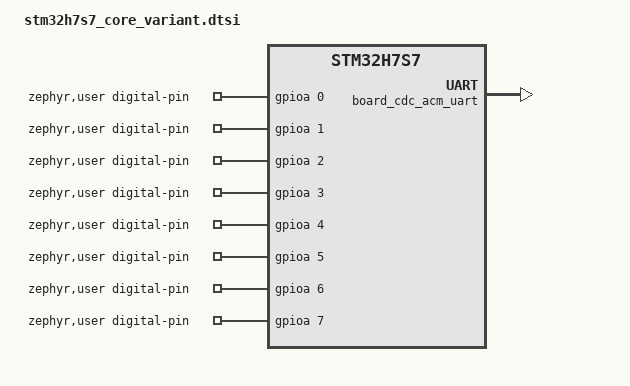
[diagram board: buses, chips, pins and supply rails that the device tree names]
/*
 * SPDX-License-Identifier: Apache-2.0
 *
 * Arduino mapping shared by every STM32H7S7 variant: USB CDC ACM as Serial, the loader and sketch partitions inside
 * the program slot, and every GPIO as an Arduino pin numbered port index x 16 + pin (A=0..H=7, M=8, N=9, O=10, P=11).
 */

&zephyr_udc0 {
	board_cdc_acm_uart: board_cdc_acm_uart {
		compatible = "zephyr,cdc-acm-uart";
		status = "okay";
	};
};

&ext_flash {
	partitions {
		loader_partition: loader-partition@0 {
			compatible = "zephyr,mapped-partition";
			label = "loader";
			reg = <0x00000000 0x00080000>;
		};

		user_sketch: partition@80000 {
			compatible = "zephyr,mapped-partition";
			label = "user_sketch";
			reg = <0x00080000 0x00780000>;
		};
	};
};

/ {
	chosen {
		zephyr,code-partition = &loader_partition;
	};

	zephyr,user {
		cdc-acm-serial = <&board_cdc_acm_uart>;
		digital-pin-gpios =
				<&gpioa 0 0>,	/*   0 PA0 */
				<&gpioa 1 0>,	/*   1 PA1 */
				<&gpioa 2 0>,	/*   2 PA2 */
				<&gpioa 3 0>,	/*   3 PA3 */
				<&gpioa 4 0>,	/*   4 PA4 */
				<&gpioa 5 0>,	/*   5 PA5 */
				<&gpioa 6 0>,	/*   6 PA6 */
				<&gpioa 7 0>,	/*   7 PA7 */
				<&gpioa 8 0>,	/*   8 PA8 */
				<&gpioa 9 0>,	/*   9 PA9 */
				<&gpioa 10 0>,	/*  10 PA10 */
				<&gpioa 11 0>,	/*  11 PA11 */
				<&gpioa 12 0>,	/*  12 PA12 */
				<&gpioa 13 0>,	/*  13 PA13 */
				<&gpioa 14 0>,	/*  14 PA14 */
				<&gpioa 15 0>,	/*  15 PA15 */
				<&gpiob 0 0>,	/*  16 PB0 */
				<&gpiob 1 0>,	/*  17 PB1 */
				<&gpiob 2 0>,	/*  18 PB2 */
				<&gpiob 3 0>,	/*  19 PB3 */
				<&gpiob 4 0>,	/*  20 PB4 */
				<&gpiob 5 0>,	/*  21 PB5 */
				<&gpiob 6 0>,	/*  22 PB6 */
				<&gpiob 7 0>,	/*  23 PB7 */
				<&gpiob 8 0>,	/*  24 PB8 */
				<&gpiob 9 0>,	/*  25 PB9 */
				<&gpiob 10 0>,	/*  26 PB10 */
				<&gpiob 11 0>,	/*  27 PB11 */
				<&gpiob 12 0>,	/*  28 PB12 */
				<&gpiob 13 0>,	/*  29 PB13 */
				<&gpiob 14 0>,	/*  30 PB14 */
				<&gpiob 15 0>,	/*  31 PB15 */
				<&gpioc 0 0>,	/*  32 PC0 */
				<&gpioc 1 0>,	/*  33 PC1 */
				<&gpioc 2 0>,	/*  34 PC2 */
				<&gpioc 3 0>,	/*  35 PC3 */
				<&gpioc 4 0>,	/*  36 PC4 */
				<&gpioc 5 0>,	/*  37 PC5 */
				<&gpioc 6 0>,	/*  38 PC6 */
				<&gpioc 7 0>,	/*  39 PC7 */
				<&gpioc 8 0>,	/*  40 PC8 */
				<&gpioc 9 0>,	/*  41 PC9 */
				<&gpioc 10 0>,	/*  42 PC10 */
				<&gpioc 11 0>,	/*  43 PC11 */
				<&gpioc 12 0>,	/*  44 PC12 */
				<&gpioc 13 0>,	/*  45 PC13 */
				<&gpioc 14 0>,	/*  46 PC14 */
				<&gpioc 15 0>,	/*  47 PC15 */
				<&gpiod 0 0>,	/*  48 PD0 */
				<&gpiod 1 0>,	/*  49 PD1 */
				<&gpiod 2 0>,	/*  50 PD2 */
				<&gpiod 3 0>,	/*  51 PD3 */
				<&gpiod 4 0>,	/*  52 PD4 */
				<&gpiod 5 0>,	/*  53 PD5 */
				<&gpiod 6 0>,	/*  54 PD6 */
				<&gpiod 7 0>,	/*  55 PD7 */
				<&gpiod 8 0>,	/*  56 PD8 */
				<&gpiod 9 0>,	/*  57 PD9 */
				<&gpiod 10 0>,	/*  58 PD10 */
				<&gpiod 11 0>,	/*  59 PD11 */
				<&gpiod 12 0>,	/*  60 PD12 */
				<&gpiod 13 0>,	/*  61 PD13 */
				<&gpiod 14 0>,	/*  62 PD14 */
				<&gpiod 15 0>,	/*  63 PD15 */
				<&gpioe 0 0>,	/*  64 PE0 */
				<&gpioe 1 0>,	/*  65 PE1 */
				<&gpioe 2 0>,	/*  66 PE2 */
				<&gpioe 3 0>,	/*  67 PE3 */
				<&gpioe 4 0>,	/*  68 PE4 */
				<&gpioe 5 0>,	/*  69 PE5 */
				<&gpioe 6 0>,	/*  70 PE6 */
				<&gpioe 7 0>,	/*  71 PE7 */
				<&gpioe 8 0>,	/*  72 PE8 */
				<&gpioe 9 0>,	/*  73 PE9 */
				<&gpioe 10 0>,	/*  74 PE10 */
				<&gpioe 11 0>,	/*  75 PE11 */
				<&gpioe 12 0>,	/*  76 PE12 */
				<&gpioe 13 0>,	/*  77 PE13 */
				<&gpioe 14 0>,	/*  78 PE14 */
				<&gpioe 15 0>,	/*  79 PE15 */
				<&gpiof 0 0>,	/*  80 PF0 */
				<&gpiof 1 0>,	/*  81 PF1 */
				<&gpiof 2 0>,	/*  82 PF2 */
				<&gpiof 3 0>,	/*  83 PF3 */
				<&gpiof 4 0>,	/*  84 PF4 */
				<&gpiof 5 0>,	/*  85 PF5 */
				<&gpiof 6 0>,	/*  86 PF6 */
				<&gpiof 7 0>,	/*  87 PF7 */
				<&gpiof 8 0>,	/*  88 PF8 */
				<&gpiof 9 0>,	/*  89 PF9 */
				<&gpiof 10 0>,	/*  90 PF10 */
				<&gpiof 11 0>,	/*  91 PF11 */
				<&gpiof 12 0>,	/*  92 PF12 */
				<&gpiof 13 0>,	/*  93 PF13 */
				<&gpiof 14 0>,	/*  94 PF14 */
				<&gpiof 15 0>,	/*  95 PF15 */
				<&gpiog 0 0>,	/*  96 PG0 */
				<&gpiog 1 0>,	/*  97 PG1 */
				<&gpiog 2 0>,	/*  98 PG2 */
				<&gpiog 3 0>,	/*  99 PG3 */
				<&gpiog 4 0>,	/* 100 PG4 */
				<&gpiog 5 0>,	/* 101 PG5 */
				<&gpiog 6 0>,	/* 102 PG6 */
				<&gpiog 7 0>,	/* 103 PG7 */
				<&gpiog 8 0>,	/* 104 PG8 */
				<&gpiog 9 0>,	/* 105 PG9 */
				<&gpiog 10 0>,	/* 106 PG10 */
				<&gpiog 11 0>,	/* 107 PG11 */
				<&gpiog 12 0>,	/* 108 PG12 */
				<&gpiog 13 0>,	/* 109 PG13 */
				<&gpiog 14 0>,	/* 110 PG14 */
				<&gpiog 15 0>,	/* 111 PG15 */
				<&gpioh 0 0>,	/* 112 PH0 */
				<&gpioh 1 0>,	/* 113 PH1 */
				<&gpioh 2 0>,	/* 114 PH2 */
				<&gpioh 3 0>,	/* 115 PH3 */
				<&gpioh 4 0>,	/* 116 PH4 */
				<&gpioh 5 0>,	/* 117 PH5 */
				<&gpioh 6 0>,	/* 118 PH6 */
				<&gpioh 7 0>,	/* 119 PH7 */
				<&gpioh 8 0>,	/* 120 PH8 */
				<&gpioh 9 0>,	/* 121 PH9 */
				<&gpioh 10 0>,	/* 122 PH10 */
				<&gpioh 11 0>,	/* 123 PH11 */
				<&gpioh 12 0>,	/* 124 PH12 */
				<&gpioh 13 0>,	/* 125 PH13 */
				<&gpioh 14 0>,	/* 126 PH14 */
				<&gpioh 15 0>,	/* 127 PH15 */
				<&gpiom 0 0>,	/* 128 PM0 */
				<&gpiom 1 0>,	/* 129 PM1 */
				<&gpiom 2 0>,	/* 130 PM2 */
				<&gpiom 3 0>,	/* 131 PM3 */
				<&gpiom 4 0>,	/* 132 PM4 */
				<&gpiom 5 0>,	/* 133 PM5 */
				<&gpiom 6 0>,	/* 134 PM6 */
				<&gpiom 7 0>,	/* 135 PM7 */
				<&gpiom 8 0>,	/* 136 PM8 */
				<&gpiom 9 0>,	/* 137 PM9 */
				<&gpiom 10 0>,	/* 138 PM10 */
				<&gpiom 11 0>,	/* 139 PM11 */
				<&gpiom 12 0>,	/* 140 PM12 */
				<&gpiom 13 0>,	/* 141 PM13 */
				<&gpiom 14 0>,	/* 142 PM14 */
				<&gpiom 15 0>,	/* 143 PM15 */
				<&gpion 0 0>,	/* 144 PN0 */
				<&gpion 1 0>,	/* 145 PN1 */
				<&gpion 2 0>,	/* 146 PN2 */
				<&gpion 3 0>,	/* 147 PN3 */
				<&gpion 4 0>,	/* 148 PN4 */
				<&gpion 5 0>,	/* 149 PN5 */
				<&gpion 6 0>,	/* 150 PN6 */
				<&gpion 7 0>,	/* 151 PN7 */
				<&gpion 8 0>,	/* 152 PN8 */
				<&gpion 9 0>,	/* 153 PN9 */
				<&gpion 10 0>,	/* 154 PN10 */
				<&gpion 11 0>,	/* 155 PN11 */
				<&gpion 12 0>,	/* 156 PN12 */
				<&gpion 13 0>,	/* 157 PN13 */
				<&gpion 14 0>,	/* 158 PN14 */
				<&gpion 15 0>,	/* 159 PN15 */
				<&gpioo 0 0>,	/* 160 PO0 */
				<&gpioo 1 0>,	/* 161 PO1 */
				<&gpioo 2 0>,	/* 162 PO2 */
				<&gpioo 3 0>,	/* 163 PO3 */
				<&gpioo 4 0>,	/* 164 PO4 */
				<&gpioo 5 0>,	/* 165 PO5 */
				<&gpioo 6 0>,	/* 166 PO6 */
				<&gpioo 7 0>,	/* 167 PO7 */
				<&gpioo 8 0>,	/* 168 PO8 */
				<&gpioo 9 0>,	/* 169 PO9 */
				<&gpioo 10 0>,	/* 170 PO10 */
				<&gpioo 11 0>,	/* 171 PO11 */
				<&gpioo 12 0>,	/* 172 PO12 */
				<&gpioo 13 0>,	/* 173 PO13 */
				<&gpioo 14 0>,	/* 174 PO14 */
				<&gpioo 15 0>,	/* 175 PO15 */
				<&gpiop 0 0>,	/* 176 PP0 */
				<&gpiop 1 0>,	/* 177 PP1 */
				<&gpiop 2 0>,	/* 178 PP2 */
				<&gpiop 3 0>,	/* 179 PP3 */
				<&gpiop 4 0>,	/* 180 PP4 */
				<&gpiop 5 0>,	/* 181 PP5 */
				<&gpiop 6 0>,	/* 182 PP6 */
				<&gpiop 7 0>,	/* 183 PP7 */
				<&gpiop 8 0>,	/* 184 PP8 */
				<&gpiop 9 0>,	/* 185 PP9 */
				<&gpiop 10 0>,	/* 186 PP10 */
				<&gpiop 11 0>,	/* 187 PP11 */
				<&gpiop 12 0>,	/* 188 PP12 */
				<&gpiop 13 0>,	/* 189 PP13 */
				<&gpiop 14 0>,	/* 190 PP14 */
				<&gpiop 15 0>;	/* 191 PP15 */
	};
};
